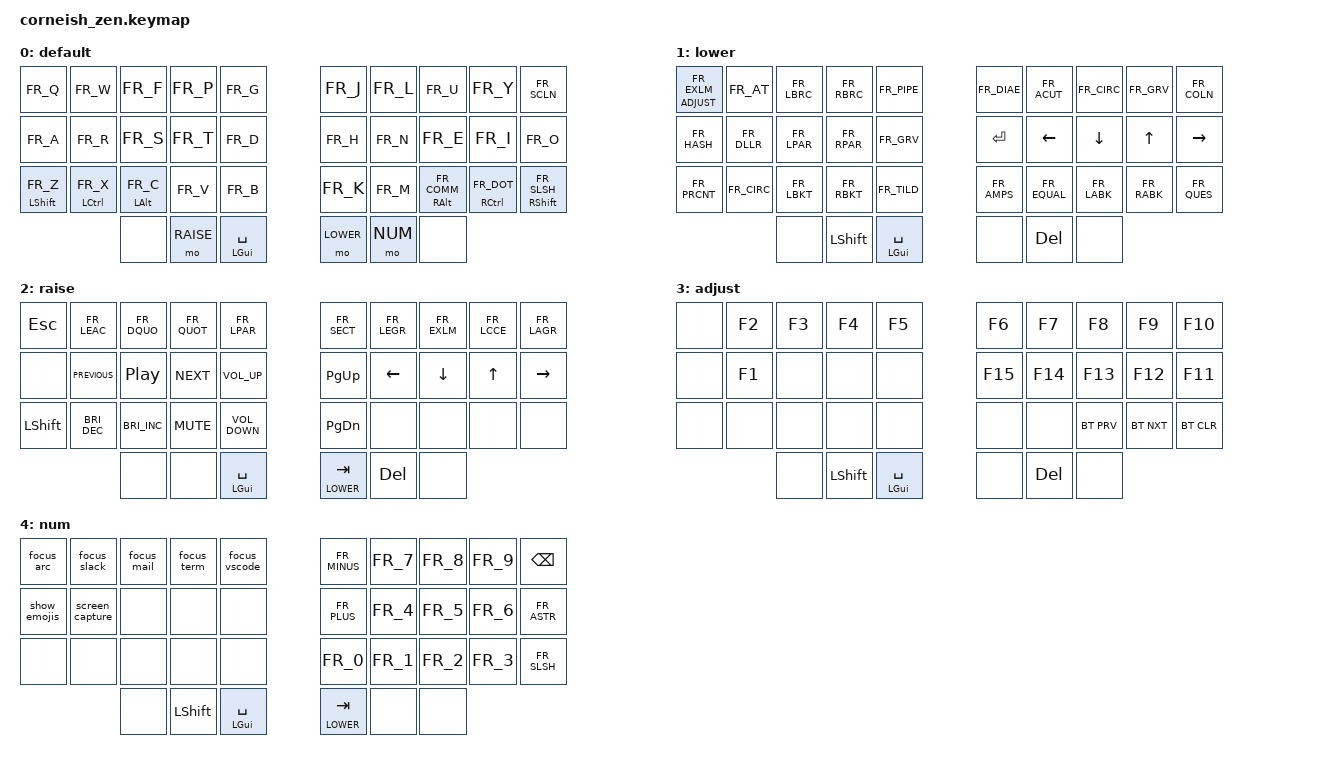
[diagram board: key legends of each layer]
/*
 * Copyright (c) 2020 The ZMK Contributors
 *
 * SPDX-License-Identifier: MIT
 */

#include <behaviors.dtsi>
#include <dt-bindings/zmk/keys.h>
#include <dt-bindings/zmk/bt.h>
#include <dt-bindings/zmk/ext_power.h>

#include "keymap_french_osx.h"

#define DEFAULT 0
#define LOWER   1
#define RAISE   2
#define ADJUST  3
#define NUM     4


/ {
        chosen {
                zmk,physical-layout = &foostan_corne_5col_layout;
        };
        behaviors {
                hm: homerow_mods {
                        compatible = "zmk,behavior-hold-tap";
                        label = "HOMEROW_MODS";
                        #binding-cells = <2>;
                        tapping-term-ms = <200>;
                        quick-tap-ms = <0>;
                        flavor = "tap-preferred";
                        bindings = <&kp>, <&kp>;
                };
        };
        combos {
                compatible = "zmk,combos";
                combo_esc {
                        timeout-ms = <50>;
                        key-positions = <1 2>;
                        bindings = <&kp TAB>;
                };
        };
        macros {
                focus_arc: focus_arc {
                        label = "ZM_focus_arc";
                        compatible = "zmk,behavior-macro";
                        #binding-cells = <0>;
                        bindings
                                = <&macro_press &kp LSHFT &kp LCTRL &kp LALT &kp LGUI>
                                , <&macro_tap &kp FR_Q>
                                , <&macro_release &kp LSHFT &kp LCTRL &kp LALT &kp LGUI>
                                ;
                };
                focus_slack: focus_slack {
                        label = "ZM_focus_slack";
                        compatible = "zmk,behavior-macro";
                        #binding-cells = <0>;
                        bindings
                                = <&macro_press &kp LSHFT &kp LCTRL &kp LALT &kp LGUI>
                                , <&macro_tap &kp FR_W>
                                , <&macro_release &kp LSHFT &kp LCTRL &kp LALT &kp LGUI>
                                ;
                };
                focus_mail: focus_mail {
                        label = "ZM_focus_mail";
                        compatible = "zmk,behavior-macro";
                        #binding-cells = <0>;
                        bindings
                                = <&macro_press &kp LSHFT &kp LCTRL &kp LALT &kp LGUI>
                                , <&macro_tap &kp FR_F>
                                , <&macro_release &kp LSHFT &kp LCTRL &kp LALT &kp LGUI>
                                ;
                };
                focus_term: focus_term {
                        label = "ZM_focus_term";
                        compatible = "zmk,behavior-macro";
                        #binding-cells = <0>;
                        bindings
                                = <&macro_press &kp LSHFT &kp LCTRL &kp LALT &kp LGUI>
                                , <&macro_tap &kp FR_P>
                                , <&macro_release &kp LSHFT &kp LCTRL &kp LALT &kp LGUI>
                                ;
                };
                focus_vscode: focus_vscode {
                        label = "ZM_focus_vscode";
                        compatible = "zmk,behavior-macro";
                        #binding-cells = <0>;
                        bindings
                                = <&macro_press &kp LSHFT &kp LCTRL &kp LALT &kp LGUI>
                                , <&macro_tap &kp FR_G>
                                , <&macro_release &kp LSHFT &kp LCTRL &kp LALT &kp LGUI>
                                ;
                };
                show_emojis: show_emojis {
                        label = "ZM_show_emojis";
                        compatible = "zmk,behavior-macro";
                        #binding-cells = <0>;
                        bindings
                                = <&macro_press &kp LCTRL &kp LGUI>
                                , <&macro_tap &kp SPACE>
                                , <&macro_release &kp LCTRL &kp LGUI>
                                ;
                };
                screen_capture: screen_capture {
                        label = "ZM_screen_capture";
                        compatible = "zmk,behavior-macro";
                        #binding-cells = <0>;
                        bindings
                                = <&macro_press &kp LSHFT &kp LCTRL &kp LGUI>
                                , <&macro_tap &kp FR_4>
                                , <&macro_release &kp LSHFT &kp LCTRL &kp LGUI>
                                ;
                };
        };

        keymap {
                compatible = "zmk,keymap";

                default_layer {
                        display-name = "default";

// ---------------------------------------------------------------------------------------------------
// | Q       |  W       |  F      |  P  |  G      |   |  J      |  L  |  U    |  Y     |  ;       |
// | A       |  R       |  S      |  T  |  D      |   |  H      |  N  |  E    |  I     |  O       |
// | SHFT/Z  |  CTRL/X  |  ALT/C  |  V  |  B      |   |  K      |  M  | ALT/, | CTRL/. |  SHFT//  |
//                      | --- | RAISE | SPC/GUI |   | LWR     | NUM | --- |
                        bindings = <
   &kp FR_Q        &kp FR_W        &kp FR_F      &kp FR_P  &kp FR_G        &kp FR_J   &kp FR_L    &kp FR_U         &kp FR_Y         &kp FR_SCLN
   &kp FR_A        &kp FR_R        &kp FR_S      &kp FR_T  &kp FR_D        &kp FR_H   &kp FR_N    &kp FR_E         &kp FR_I         &kp FR_O
   &hm LSHFT FR_Z  &hm LCTRL FR_X  &hm LALT FR_C &kp FR_V  &kp FR_B        &kp FR_K   &kp FR_M    &hm RALT FR_COMM &hm RCTRL FR_DOT &hm RSHFT FR_SLSH
                                   &none  &mo RAISE  &hm LGUI SPACE   &mo LOWER  &mo NUM  &none
                        >;

                };
                lower_layer {
                        display-name = "lower";

// ----------------------------------------------------------------------------------
// |  ADJUST/! |  @  |  {   |  }   |  |      |   |  ¨   |  ´  |  ^  |  `  |  :   |
// |  #        |  $  |  (   |  )   |  `      |   |  ENT | LFT | DWN |  UP |  RGT |
// |  %        |  ^  |  [   |  ]   |  ~      |   |  &   |  =  |  <  |  >  |  ?   |
//                   | --- | SHFT | SPC/GUI |   |         | DEL | --- |
                        bindings = <
   &lt ADJUST FR_EXLM  &kp FR_AT    &kp FR_LBRC  &kp FR_RBRC  &kp FR_PIPE     &kp FR_DIAE  &kp FR_ACUT   &kp FR_CIRC  &kp FR_GRV   &kp FR_COLN
   &kp FR_HASH         &kp FR_DLLR  &kp FR_LPAR  &kp FR_RPAR  &kp FR_GRV      &kp RET      &kp LEFT      &kp DOWN     &kp UP       &kp RIGHT
   &kp FR_PRCNT        &kp FR_CIRC  &kp FR_LBKT  &kp FR_RBKT  &kp FR_TILD     &kp FR_AMPS  &kp FR_EQUAL  &kp FR_LABK  &kp FR_RABK  &kp FR_QUES
                                    &none  &kp LSHFT  &hm LGUI SPACE   &none      &kp DEL  &none
                        >;
                };

                raise_layer {
                        display-name = "raise";

// ------------------------------------------------------------------------------------------
// | ESC   |  é      |  "      |  '    |  (      |   |  §      |  è  |  !  |  ç  |  à   |
// |       | Prev    | Play    | Next  | VolUp   |   | PG_UP   | LFT | DWN |  UP | RGT  |
// | SHFT  | BRI_DEC | BRI_INC | Mute  | VolDn   |   | PG_DN   |     |     |     |      |
//                   | --- |      | SPC/GUI |   | LWR/TAB | DEL | --- |
                        bindings = <
   &kp ESC     &kp FR_LEAC     &kp FR_DQUO       &kp FR_QUOT  &kp FR_LPAR       &kp FR_SECT  &kp FR_LEGR    &kp FR_EXLM  &kp FR_LCCE  &kp FR_LAGR
   &none       &kp C_PREVIOUS  &kp C_PLAY_PAUSE  &kp C_NEXT   &kp C_VOLUME_UP   &kp PG_UP    &kp LEFT       &kp DOWN     &kp UP       &kp RIGHT
   &kp LSHFT   &kp C_BRI_DEC   &kp C_BRI_INC     &kp C_MUTE   &kp C_VOLUME_DOWN &kp PG_DN    &none          &none        &none        &none
                                    &none  &none      &hm LGUI SPACE   &lt LOWER TAB  &kp DEL  &none
                        >;
                };

                adjust_layer {
                        display-name = "adjust";

// ------------------------------------------------------------------------------------------------------
// |         | F2      | F3      | F4      | F5      |   | F6      | F7  | F8     | F9     | F10    |
// |         | F1      |         |         |         |   | F15     | F14 | F13    | F12    | F11    |
// |         |         |         |         |         |   |         |     | BT_PRV | BT_NXT | BT_CLR |
//                     | --- | SHFT | SPC/GUI |   |         | DEL | --- |
                        bindings = <
   &none   &kp F2  &kp F3     &kp F4    &kp F5          &kp F6       &kp F7   &kp F8       &kp F9      &kp F10
   &none   &kp F1  &none      &none     &none           &kp F15      &kp F14  &kp F13      &kp F12     &kp F11
   &none   &none   &none      &none     &none           &none        &none    &bt BT_PRV   &bt BT_NXT  &bt BT_CLR
                              &none  &kp LSHFT  &hm LGUI SPACE   &none    &kp DEL  &none
                        >;
                };

                num_layer {
                        display-name = "num";

// -------------------------------------------------------------------------------------------
// | Arc | Slack          | Mail | iTerm |  VScode |   |  -      | 7       | 8 | 9 | BSPC |
// | 👻  | Screen Capture |      |       |         |   |  +      | 4       | 5 | 6 | *    |
// |     |                |      |       |         |   |  0      | 1       | 2 | 3 | /    |
//                        | --- | SHFT | SPC/GUI |   | LWR/TAB |  | --- |
                        bindings = <
   &focus_arc    &focus_slack     &focus_mail &focus_term &focus_vscode  &kp FR_MINUS  &kp FR_7       &kp FR_8  &kp FR_9  &kp BSPC
   &show_emojis  &screen_capture  &none       &none       &none          &kp FR_PLUS   &kp FR_4       &kp FR_5  &kp FR_6  &kp FR_ASTR
   &none         &none            &none       &none       &none          &kp FR_0      &kp FR_1       &kp FR_2  &kp FR_3  &kp FR_SLSH
                                    &none  &kp LSHFT  &hm LGUI SPACE   &lt LOWER TAB  &none  &none
                        >;
                };
        };
};
